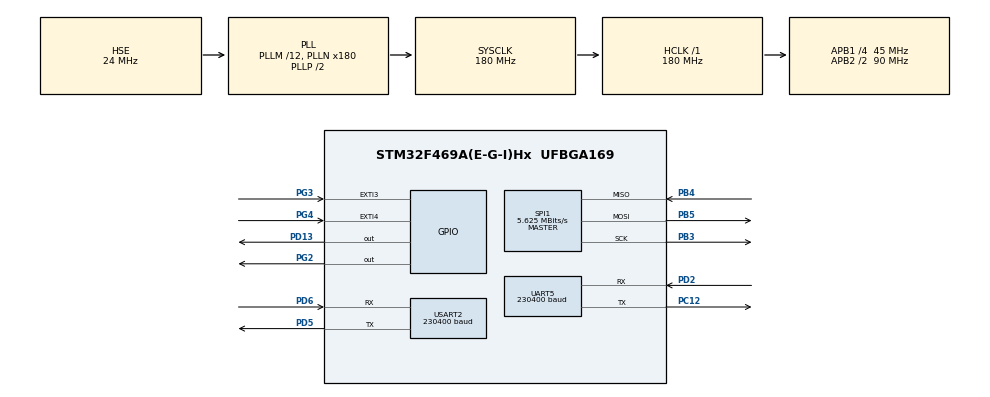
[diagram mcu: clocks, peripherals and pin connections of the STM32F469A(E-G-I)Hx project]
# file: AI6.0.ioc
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Dma.Request0=USART2_RX
Dma.USART2_RX.0.Direction=DMA_PERIPH_TO_MEMORY
Dma.USART2_RX.0.FIFOMode=DMA_FIFOMODE_DISABLE
Dma.USART2_RX.0.Instance=DMA1_Stream5
Dma.USART2_RX.0.MemDataAlignment=DMA_MDATAALIGN_BYTE
Dma.USART2_RX.0.MemInc=DMA_MINC_ENABLE
Dma.USART2_RX.0.Mode=DMA_CIRCULAR
Dma.USART2_RX.0.PeriphDataAlignment=DMA_PDATAALIGN_BYTE
Dma.USART2_RX.0.PeriphInc=DMA_PINC_DISABLE
Dma.USART2_RX.0.Priority=DMA_PRIORITY_LOW
Mcu.Family=STM32F4
Mcu.Name=STM32F469A(E-G-I)Hx
Mcu.Package=UFBGA169
NVIC.DMA1_Stream5_IRQn=true\:0\:0\:false\:false\:true\:false\:true\:true
NVIC.EXTI3_IRQn=true\:0\:0\:false\:false\:true\:true\:true\:true
NVIC.EXTI4_IRQn=true\:0\:0\:false\:false\:true\:true\:true\:true
NVIC.PriorityGroup=NVIC_PRIORITYGROUP_4
NVIC.TIM2_IRQn=true\:0\:0\:false\:false\:true\:true\:true\:true
NVIC.USART2_IRQn=true\:0\:0\:false\:false\:true\:true\:true\:true
PA13.Mode=Serial_Wire
PA13.Signal=SYS_JTMS-SWDIO
PA14.Mode=Serial_Wire
PA14.Signal=SYS_JTCK-SWCLK
PB3.Mode=Full_Duplex_Master
PB3.Signal=SPI1_SCK
PB4.Mode=Full_Duplex_Master
PB4.Signal=SPI1_MISO
PB5.Mode=Full_Duplex_Master
PB5.Signal=SPI1_MOSI
PC12.Mode=Asynchronous
PC12.Signal=UART5_TX
PC14/OSC32_IN.Mode=LSE-External-Oscillator
PC14/OSC32_IN.Signal=RCC_OSC32_IN
PC15/OSC32_OUT.Mode=LSE-External-Oscillator
PC15/OSC32_OUT.Signal=RCC_OSC32_OUT
PD13.Signal=GPIO_Output
PD2.Mode=Asynchronous
PD2.Signal=UART5_RX
PD5.Mode=Asynchronous
PD5.Signal=USART2_TX
PD6.Mode=Asynchronous
PD6.Signal=USART2_RX
PG2.PinState=GPIO_PIN_SET
PG2.Signal=GPIO_Output
PG3.Signal=GPXTI3
PG4.Signal=GPXTI4
PH0/OSC_IN.Mode=HSE-External-Oscillator
PH0/OSC_IN.Signal=RCC_OSC_IN
PH1/OSC_OUT.Mode=HSE-External-Oscillator
PH1/OSC_OUT.Signal=RCC_OSC_OUT
ProjectManager.HeapSize=0x200
ProjectManager.StackSize=0x1000
ProjectManager.TargetToolchain=STM32CubeIDE
RCC.AHBFreq_Value=180000000
RCC.APB1CLKDivider=RCC_HCLK_DIV4
RCC.APB1Freq_Value=45000000
RCC.APB1TimFreq_Value=90000000
RCC.APB2CLKDivider=RCC_HCLK_DIV2
RCC.APB2Freq_Value=90000000
RCC.APB2TimFreq_Value=180000000
RCC.CortexFreq_Value=180000000
RCC.HCLKFreq_Value=180000000
RCC.HSE_VALUE=24000000
RCC.PLLM=12
RCC.PLLN=180
RCC.PLLSourceVirtual=RCC_PLLSOURCE_HSE
RCC.SYSCLKFreq_VALUE=180000000
RCC.SYSCLKSource=RCC_SYSCLKSOURCE_PLLCLK
RCC.USBFreq_Value=90000000
RCC.VCOOutputFreq_Value=360000000
SPI1.BaudRatePrescaler=SPI_BAUDRATEPRESCALER_16
SPI1.CalculateBaudRate=5.625 MBits/s
SPI1.Direction=SPI_DIRECTION_2LINES
SPI1.Mode=SPI_MODE_MASTER
SPI1.VirtualType=VM_MASTER
STMicroelectronics.X-CUBE-AI.6.0.0.ActivationBufferSizeList=236
STMicroelectronics.X-CUBE-AI.6.0.0.HeapSize=0x200
STMicroelectronics.X-CUBE-AI.6.0.0.InternalRamActivationBufferMaxSize=AI_NETWORK_DATA_ACTIVATIONS_SIZE
STMicroelectronics.X-CUBE-AI.6.0.0.LatestDirectoryUsed-0fcbe1ab71b698b4400d4f1bba7a862e0c98a0aeb48cbcee48d7ba8a3e75a3d9=C\:\\Users\\giaco\\Desktop
STMicroelectronics.X-CUBE-AI.6.0.0.MaximumNumberOfInputLayer=1
STMicroelectronics.X-CUBE-AI.6.0.0.MaximumNumberOfOutputLayer=1
STMicroelectronics.X-CUBE-AI.6.0.0.MaximumSizeOfInputLayer=AI_NETWORK_IN_1_SIZE_BYTES
STMicroelectronics.X-CUBE-AI.6.0.0.MaximumSizeOfOutputLayer=AI_NETWORK_OUT_1_SIZE_BYTES
STMicroelectronics.X-CUBE-AI.6.0.0.ModelActualCompression-0fcbe1ab71b698b4400d4f1bba7a862e0c98a0aeb48cbcee48d7ba8a3e75a3d9=0.0
STMicroelectronics.X-CUBE-AI.6.0.0.ModelCompression-0fcbe1ab71b698b4400d4f1bba7a862e0c98a0aeb48cbcee48d7ba8a3e75a3d9=1
STMicroelectronics.X-CUBE-AI.6.0.0.ModelFlashOccupation-0fcbe1ab71b698b4400d4f1bba7a862e0c98a0aeb48cbcee48d7ba8a3e75a3d9=3612
STMicroelectronics.X-CUBE-AI.6.0.0.ModelHashList=0fcbe1ab71b698b4400d4f1bba7a862e0c98a0aeb48cbcee48d7ba8a3e75a3d9
STMicroelectronics.X-CUBE-AI.6.0.0.ModelKind-0fcbe1ab71b698b4400d4f1bba7a862e0c98a0aeb48cbcee48d7ba8a3e75a3d9=TFLITE
STMicroelectronics.X-CUBE-AI.6.0.0.ModelMacc-0fcbe1ab71b698b4400d4f1bba7a862e0c98a0aeb48cbcee48d7ba8a3e75a3d9=998
STMicroelectronics.X-CUBE-AI.6.0.0.ModelName-0fcbe1ab71b698b4400d4f1bba7a862e0c98a0aeb48cbcee48d7ba8a3e75a3d9=network
STMicroelectronics.X-CUBE-AI.6.0.0.ModelNameList=network
STMicroelectronics.X-CUBE-AI.6.0.0.ModelRamOccupation-0fcbe1ab71b698b4400d4f1bba7a862e0c98a0aeb48cbcee48d7ba8a3e75a3d9=236
STMicroelectronics.X-CUBE-AI.6.0.0.ModelStructureFile-0fcbe1ab71b698b4400d4f1bba7a862e0c98a0aeb48cbcee48d7ba8a3e75a3d9=C\:\\Users\\giaco\\Desktop\\modello_finale.tflite
STMicroelectronics.X-CUBE-AI.6.0.0.ModelType-0fcbe1ab71b698b4400d4f1bba7a862e0c98a0aeb48cbcee48d7ba8a3e75a3d9=STM32Cube.AI runtime
STMicroelectronics.X-CUBE-AI.6.0.0.StackSize=0x1000
STMicroelectronics.X-CUBE-AI.6.0.0.WorkingBufferStartAddrList=0xFFFFFFFF
STMicroelectronics.X-CUBE-AI.6.0.0.XAaCUBEAaAICcArtificialOoIntelligenceJjCore=true
STMicroelectronics.X-CUBE-ALGOBUILD.1.3.0.LibraryCcDSPOoLibraryJjDSPOoLibrary=true
STMicroelectronics.X-CUBE-ALGOBUILD.1.3.0.LibraryCcMotionOoLibrariesJjMotionOoLibraries=true
TIM2.Period=1000-1
TIM2.Prescaler=24000-1
UART5.BaudRate=230400
UART5.VirtualMode=Asynchronous
USART2.BaudRate=230400
USART2.Parity=PARITY_NONE
USART2.VirtualMode=VM_ASYNC
VP_CRC_VS_CRC.Mode=CRC_Activate
VP_STMicroelectronics.X-CUBE-AI_VS_ArtificialOoIntelligenceJjXAaCUBEAaAI_6.0.0.Mode=ArtificialOoIntelligenceJjXAaCUBEAaAI
VP_STMicroelectronics.X-CUBE-ALGOBUILD_VS_DSPOoLibraryJjLibrary_1.3.0_1.3.0.Mode=DSPOoLibraryJjLibrary
VP_STMicroelectronics.X-CUBE-ALGOBUILD_VS_MotionOoLibrariesJjLibrary_1.3.0_1.3.0.Mode=MotionOoLibrariesJjLibrary
VP_TIM2_VS_ClockSourceINT.Mode=Internal
board=custom

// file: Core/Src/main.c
/* USER CODE BEGIN Header */
/**
  ******************************************************************************
  * @file           : main.c
  * @brief          : Main program body
  ******************************************************************************
  * @attention
  *
  * Copyright (c) 2023 STMicroelectronics.
  * All rights reserved.
  *
  * This software is licensed under terms that can be found in the LICENSE file
  * in the root directory of this software component.
  * If no LICENSE file comes with this software, it is provided AS-IS.
  *
  ******************************************************************************
  */
/* USER CODE END Header */

#define ARM_MATH_CM4
#define DIM 8000
#define SAMPLES  2048
#define FFT_SIZE (SAMPLES/2)
#define Fs  20000
#define passo_f  (Fs/2)/(FFT_SIZE/2)

#include "main.h"
#include "crc.h"
#include "dma.h"
#include "spi.h"
#include "tim.h"
#include "usart.h"
#include "gpio.h"
#include "ai_datatypes_defines.h"
#include "ai_platform.h"
#include "network.h"
#include "network.h"
#include "network_data.h"
#include "arm_math.h"

#define N 5

/* USER CODE BEGIN PV */

float32_t fft_in_buf_realX [SAMPLES];
float32_t fft_in_buf_realY [SAMPLES];
float32_t fft_in_buf_realZ [SAMPLES];
float32_t tempX[FFT_SIZE];
float32_t tempY[FFT_SIZE];
float32_t tempZ[FFT_SIZE];
float32_t fft_out_buf_realX[FFT_SIZE];
float32_t fft_out_buf_realY[FFT_SIZE];
float32_t fft_out_buf_realZ[FFT_SIZE];
arm_rfft_fast_instance_f32 fft_handler;
arm_cfft_radix4_instance_f32 fft_handler_cplx;
float32_t massimo;
float32_t valMassimiX[N];
float32_t indX[N];
float32_t valMassimiY[N];
float32_t indY[N];
float32_t valMassimiZ[N];
float32_t indZ[N];
float32_t matriceInput[N][6];

int indmax;
char  buffer_out[100];
uint8_t spiSndX[1];			//Buffer di trasmissione X MSB
uint8_t spiSndY[1];			//Buffer di trasmissione Y MSB
uint8_t spiSndZ[1];			//Buffer di trasmissione Z MSB
uint8_t spiSndXLSB[1];		//Buffer di trasmissione X LSB
uint8_t spiSndYLSB[1];		//Buffer di trasmissione Y LSB
uint8_t spiSndZLSB[1];		//Buffer di trasmissione Z LSB
uint8_t spiRcv[2];			//Buffer di ricezione LSB
uint8_t spiRcvMSB[2];		//Buffer di ricezione MSB
uint8_t spiSnd[2];			//Buffer invio comandi SPI
uint16_t buffer[50]={0};	//Buffer usato per UART5
uint16_t buffer2[300];
uint16_t buffer3[300];
uint8_t a;
float Vettx[DIM];
float Vetty[DIM];
float Vettz[DIM];
volatile uint8_t flag_elapsed = 0;

void uprintf(char* str){
	HAL_UART_Transmit(&huart5, (uint8_t*)str, strlen(str), 100);
}

/* USER CODE END PV */

void SystemClock_Config(void);

int main(void)
{
  /* USER CODE BEGIN 1 */

		spiSndX[0]=0x29|0x80;
	    spiSndY[0]=0x2B|0x80;
		spiSndZ[0]=0x2D|0x80;
		spiSndXLSB[0]=0x28|0x80;
		spiSndYLSB[0]=0x2A|0x80;
		spiSndZLSB[0]=0x2C|0x80;
		uint16_t x[DIM];
		uint16_t y[DIM];
		uint16_t z[DIM];
		int16_t k=0;
		float acc;
		float typ=0.488;
		int i=0;

  /* USER CODE END 1 */

  /* MCU Configuration--------------------------------------------------------*/

  /* Reset of all peripherals, Initializes the Flash interface and the Systick. */
  HAL_Init();

  /* Configure the system clock */
  SystemClock_Config();

  /* Initialize all configured peripherals */
  MX_GPIO_Init();
  MX_DMA_Init();
  MX_SPI1_Init();
  MX_USART2_UART_Init();
  MX_UART5_Init();
  MX_TIM2_Init();
  MX_CRC_Init();
  /* USER CODE BEGIN 2 */

  HAL_UART_MspInit(&huart5);
  HAL_GPIO_WritePin(GPIOG, GPIO_PIN_2, GPIO_PIN_RESET);
  spiSnd[0]=0x10;
  spiSnd[1]=0xA4;
  HAL_SPI_Transmit(&hspi1, spiSnd, 2, 100);
  HAL_GPIO_WritePin(GPIOG, GPIO_PIN_2, GPIO_PIN_SET);
  HAL_TIM_Base_Start(&htim2);

  /* USER CODE END 2 */

  /* Infinite loop */
  /* USER CODE BEGIN WHILE */
  while (i<DIM)
   {
 	 if((flag_elapsed=1))											//La funzione di interrupt abilita il flag per ogni n conteggi selezionati
 	 {
 		 flag_elapsed=0;										//flag=0 in modo che non rientro ma aspetto che sia l'interrupt ad alzarlo

 		//Asse X
 		HAL_GPIO_WritePin(GPIOG, GPIO_PIN_2, GPIO_PIN_RESET);	//Abilito SPI1
 		HAL_SPI_Transmit(&hspi1, spiSndX, 1, 100);				//Trasmetto Indirizzo dove leggere istruzione
 		HAL_SPI_Receive(&hspi1, &spiRcv[0], 1, 100);			//Ricevo Risultato di misura MSB (8bit)
 		HAL_GPIO_WritePin(GPIOG, GPIO_PIN_2, GPIO_PIN_SET);		//Chiudo la comunicazione SPI1
 		HAL_GPIO_WritePin(GPIOG, GPIO_PIN_2, GPIO_PIN_RESET);	//Abilito la comunicazione SPI1 (NON POSSO FARE PIU OPERAZIONI CON UN'UNICA ATTIVAZIONE)
 		HAL_SPI_Transmit(&hspi1, spiSndXLSB, 1, 100);			//Trasmetto Indirizzo dove leggere istruzione
 		HAL_SPI_Receive(&hspi1, &spiRcv[1], 1, 100);			//Ricevo Risultato di misura LSB (8bit)
 		x[i]=((int16_t)spiRcv[0] << 8) | spiRcv[1];				//Unisco MSB e LSB attraverso un'operazione di shift su 16bit
 		HAL_GPIO_WritePin(GPIOG, GPIO_PIN_2, GPIO_PIN_SET);		//Chiudo la comunicazione SPI1
 		k=(int16_t)x[i];										//Casting da uint a int (abilitazione del segno, complemento)
 		acc=(k*typ)/1000;										//Da datasheet, il dato letto, lo converto in scala g attraverso questo calcolo
 		Vettx[i]=acc;											//Aggiungo la misura al vettore delle letture
 		//HAL_UART_Transmit(&huart5,(uint8_t*)"\n \r", 3, HAL_MAX_DELAY);			//Vado da capo

 		spiRcv[0]=0;
 		spiRcv[1]=0;
 		//Asse Y
 		HAL_GPIO_WritePin(GPIOG, GPIO_PIN_2, GPIO_PIN_RESET);	//Abilito SPI1
 		HAL_SPI_Transmit(&hspi1, spiSndY, 1, 100);				//Trasmetto Indirizzo dove leggere istruzione
 		HAL_SPI_Receive(&hspi1, &spiRcv[0], 1, 100);			//Ricevo Risultato di misura MSB (8bit)
 		HAL_GPIO_WritePin(GPIOG, GPIO_PIN_2, GPIO_PIN_SET);		//Chiudo la comunicazione SPI1
 		HAL_GPIO_WritePin(GPIOG, GPIO_PIN_2, GPIO_PIN_RESET);	//Abilito la comunicazione SPI1 (NON POSSO FARE PIU OPERAZIONI CON UN'UNICA ATTIVAZIONE)
 		HAL_SPI_Transmit(&hspi1, spiSndYLSB, 1, 100);			//Trasmetto Indirizzo dove leggere istruzione
 		HAL_SPI_Receive(&hspi1, &spiRcv[1], 1, 100);			//Ricevo Risultato di misura LSB (8bit)
 		y[i]=((int16_t)spiRcv[0] << 8) | spiRcv[1];				//Unisco MSB e LSB attraverso un'operazione di shift su 16bit
 		HAL_GPIO_WritePin(GPIOG, GPIO_PIN_2, GPIO_PIN_SET);		//Chiudo la comunicazione SPI1
 		k=(int16_t)y[i];										//Casting da uint a int (abilitazione del segno, complemento)
 		acc=(k*typ)/1000;										//Da datasheet, il dato letto, lo converto in scala g attraverso questo calcolo
 		Vetty[i]=acc;											//Aggiungo la misura al vettore delle letture
 		//HAL_UART_Transmit(&huart5,(uint8_t*)"\n \r", 3, HAL_MAX_DELAY);			//Vado da capo

 		spiRcv[0]=0;
 		spiRcv[1]=0;
 		//Asse Z												//Si ripetono gli stessi commenti
 		HAL_GPIO_WritePin(GPIOG, GPIO_PIN_2, GPIO_PIN_RESET);
 		HAL_SPI_Transmit(&hspi1, spiSndZ, 1, 100);
 		HAL_SPI_Receive(&hspi1, &spiRcv[0], 1, 100);
 		HAL_GPIO_WritePin(GPIOG, GPIO_PIN_2, GPIO_PIN_SET);
 		HAL_GPIO_WritePin(GPIOG, GPIO_PIN_2, GPIO_PIN_RESET);
 		HAL_SPI_Transmit(&hspi1, spiSndZLSB, 1, 100);
 		HAL_SPI_Receive(&hspi1, &spiRcv[1], 1, 100);
 		z[i]=((int16_t)spiRcv[0] << 8) | spiRcv[1];
 		HAL_GPIO_WritePin(GPIOG, GPIO_PIN_2, GPIO_PIN_SET);
 		k=(int16_t)z[i];
 		acc=(k*typ)/1000;
 		Vettz[i]=acc;
 		//HAL_UART_Transmit(&huart5,(uint8_t*)"\n \r", 3, HAL_MAX_DELAY);			//Vado da capo

 	    i=i+1;															//Incremento la i per spostare le misure nel buffer
 	  }
   }

    /* USER CODE END WHILE */

    /* USER CODE BEGIN 3 */

  HAL_TIM_Base_Stop(&htim2);											//Completate le n=DIM misure, fermo il timer
     HAL_UART_Transmit(&huart5,(uint8_t*)"\n \r", 3, HAL_MAX_DELAY);		//Trasmetto uno spazio per ordine

     //Scrivo le misure relative all'asse X
     /*uprintf("Misure Asse X \n \r");
     for(int j=0; j<DIM; j++){
  	   sprintf(buffer2,"%f \n \r",Vettx[j]); // @suppress("Float formatting support")? No, ho aggiunto manualmente la funzione nel Linker
  	   uprintf(buffer2);
     }

     //Scrivo le misure relative all'asse Y
     uprintf("Misure Asse Y \n \r");
     for(int j=0; j<DIM; j++){
  	  sprintf(buffer2,"%f \n \r",Vetty[j	]); // @suppress("Float formatting support")? No, ho aggiunto manualmente la funzione nel Linker
  	  uprintf(buffer2);
     }

     //Scrivo le misure relative all'asse Z
     uprintf("Misure Asse Z \n \r");
     for(int j=0; j<DIM; j++){
  	  sprintf(buffer2,"%f \n \r",Vettz[j]); // @suppress("Float formatting support")? No, ho aggiunto manualmente la funzione nel Linker
  	  uprintf(buffer2);
     }*/

     //FFT reale

     	 	  arm_cfft_radix2_instance_f32 S;

     	 	  /* Inizializzo il modulo CFFT/CIFFT, intFlag = 0, doBitReverse = 1 */
     	 	  arm_cfft_radix2_init_f32(&S, FFT_SIZE, 0, 1);

     	 	  //Asse X

     	 	  //Raccolgo i campioni
     	 	  for(int j=0;j<SAMPLES;j+=2){
     	 		  fft_in_buf_realX[j] = ((float32_t)((float32_t)Vettx[j]));
     	 		  fft_in_buf_realX[j+1] = 0;
     	 	  }

     	       /* Processo i dati attraverso il modulo CFFT/CIFFT */
     	        arm_cfft_radix2_f32(&S, fft_in_buf_realX);

     	       /* Processo i dati attraverso il modulo Complex Magnitude */
     	        arm_cmplx_mag_f32(fft_in_buf_realX, fft_out_buf_realX, FFT_SIZE);

          //Asse Y

       	 	  //Raccolgo i campioni
       	 	  for(int j=0;j<SAMPLES;j+=2){
       	 		  fft_in_buf_realY[j] = ((float32_t)((float32_t)Vetty[j]));
       	 		  fft_in_buf_realY[j+1] = 0;
       	 	  }

       	       /* Processo i dati attraverso il modulo CFFT/CIFFT */
       	        arm_cfft_radix2_f32(&S, fft_in_buf_realY);

       	       /* Processo i dati attraverso il modulo Complex Magnitude */
       	        arm_cmplx_mag_f32(fft_in_buf_realY, fft_out_buf_realY, FFT_SIZE);

           //Eseguo la fft sull'Asse Z

       	     //Raccolgo i campioni
       	       for(int j=0;j<SAMPLES;j+=2){
       	    	   fft_in_buf_realZ[j] = ((float32_t)((float32_t)Vettz[j]));
       	           fft_in_buf_realZ[j+1] = 0;
       	           }

       	      /* Processo i dati attraverso il modulo CFFT/CIFFT */
       	      arm_cfft_radix2_f32(&S, fft_in_buf_realZ);

       	      /* Processo i dati attraverso il modulo Complex Magnitude */
       	      arm_cmplx_mag_f32(fft_in_buf_realZ, fft_out_buf_realZ, FFT_SIZE);

       	  //Prendo le N armoniche a magnitude maggiore di X

          for(int j = 0; j<((FFT_SIZE/2)-1);j++){
         	 tempX[j] = (float32_t)fft_out_buf_realX[j+1];
          }

          for(int j=0; j<N;j++){

         	 arm_max_f32(tempX, FFT_SIZE/2, &massimo, &indmax);
         	 valMassimiX[j] = massimo;
         	 indX[j] = indmax*passo_f;
         	 tempX[indmax] = 0;
          }

          //Stampo le N frequenze corrispondenti di X

          sprintf(buffer2,"Armoniche asse X \n \r");
          uprintf(buffer2);

          for(int j=0;j<N;j++){
          sprintf(buffer3,"%f \n \r",valMassimiX[j]);
          uprintf(buffer3);
          }

          //Stampo le relative frequenze di X

          sprintf(buffer2,"Frequenze asse X \n \r");
          uprintf(buffer2);

          for(int j=0;j<N;j++){
          sprintf(buffer2,"%f \n \r",indX[j]);
          uprintf(buffer2);
          }

          //Prendo le N armoniche a magnitude maggiore di Y

          for(int j = 1; j<((FFT_SIZE/2)-1);j++){
              	 tempY[j] = (float32_t)fft_out_buf_realY[j+1];
               }

               for(int j = 0; j<N;j++){

              	 arm_max_f32(tempY, FFT_SIZE/2, &massimo, &indmax);
              	 valMassimiY[j] = massimo;
              	 indY[j] = indmax*passo_f;
              	 tempY[indmax] = 0;
               }

            //Stampo le N armoniche di Y

                         sprintf(buffer2,"Armoniche asse Y \n \r");
                         uprintf(buffer2);

                         for(int j=0;j<N;j++){
                         sprintf(buffer3,"%f \n \r",valMassimiY[j]);
                         uprintf(buffer3);
                         }

                         //Stampo le relative frequenze di Y

                         sprintf(buffer2,"Frequenze asse Y \n \r");
                         uprintf(buffer2);

                         for(int j=0;j<N;j++){
                         sprintf(buffer2,"%f \n \r",indY[j]);
                         uprintf(buffer2);
                         }

            //Prendo le N armoniche a magnitude maggiore di Z

            for(int j = 1; j<((FFT_SIZE/2)-1);j++){
                   	 tempZ[j] = (float32_t)fft_out_buf_realZ[j+1];
                    }

                    for(int j = 0; j<N;j++){

                   	 arm_max_f32(tempZ, FFT_SIZE/2, &massimo, &indmax);
                   	 valMassimiZ[j] = massimo;
                   	 indZ[j] = indmax*passo_f;
                   	 tempZ[indmax] = 0;
                    }
                    //Stampo le N armoniche di Z

                              sprintf(buffer2,"Armoniche asse Z \n \r");
                              uprintf(buffer2);

                              for(int j=0;j<N;j++){
                              sprintf(buffer3,"%f \n \r",valMassimiZ[j]);
                              uprintf(buffer3);
                              }

                              //Stampo le relative frequenze di Z

                              sprintf(buffer2,"Frequenze asse Z \n \r");
                              uprintf(buffer2);

                              for(int j=0;j<N;j++){
                              sprintf(buffer2,"%f \n \r",indZ[j]);
                              uprintf(buffer2);
                              }

  //Preparo la matrice con gli input da dare al mio NN(riempio la matrice per colonne)

  for(int j=0;j<AI_NETWORK_IN_1_SIZE;j++){

	  for(int k=0;k<N;k++){

		  if(j==0)
			  matriceInput[k][j] = (float32_t)valMassimiX[k];
		  if(j==1)
			  matriceInput[k][j] = (float32_t)indX[k];
		  if(j==2)
			  matriceInput[k][j] = (float32_t)valMassimiY[k];
		  if(j==3)
			  matriceInput[k][j] = (float32_t)indY[k];
		  if(j==4)
			  matriceInput[k][j] = (float32_t)valMassimiZ[k];
		  if(j==5)
			  matriceInput[k][j] = (float32_t)indZ[k];
	  }
  }

  // Chunk of memory used to hold intermediate values for neural network

  	AI_ALIGNED(4) ai_u8 activations[AI_NETWORK_DATA_ACTIVATIONS_SIZE];
    ai_i32 inferenza;

  // Buffer per memorizzare i tensori di input e di output

  	AI_ALIGNED(4) ai_i8 in_data[AI_NETWORK_IN_1_SIZE_BYTES];
    AI_ALIGNED(4) ai_i8 out_data[AI_NETWORK_OUT_1_SIZE_BYTES];

    //Puntatore al modello

    ai_handle network = AI_HANDLE_NULL;

    //Inizializzo le struct che conterranno i puntatori ai dati

    ai_buffer ai_input[AI_NETWORK_IN_NUM] = AI_NETWORK_IN;
    ai_buffer ai_output[AI_NETWORK_OUT_NUM] = AI_NETWORK_OUT;

    //Ricavo i pesi e i bias del modello

       ai_network_params ai_params = {
       AI_NETWORK_DATA_WEIGHTS(ai_network_data_weights_get()),
       AI_NETWORK_DATA_ACTIVATIONS(activations)
     };

     //Setto le struct

       ai_input[0].n_batches = 1;
       ai_input[0].data = AI_HANDLE_PTR(in_data);
       ai_output[0].n_batches = 1;
       ai_output[0].data = AI_HANDLE_PTR(out_data);

    //Creo un'istanza del NN

     ai_error ai_err;
     ai_err = ai_network_create(&network, AI_NETWORK_DATA_CONFIG);
     if (ai_err.type != AI_ERROR_NONE)
     {
    	 sprintf(buffer2,"Errore");
    	 uprintf(buffer2);

     }

     //Verifico che il NN sia inizializzato correttamente

     if (!ai_network_init(network, &ai_params))
     {
    	 sprintf(buffer2,"Errore");
    	 uprintf(buffer2);

     }

     //Riempio il buffer di input

     	 for (uint32_t i = 0; i < AI_NETWORK_IN_1_SIZE; i++)
         {
           ((ai_float *)in_data)[i] = (ai_float)matriceInput[1][i];
           //sprintf(buffer2,"%f \n \r",((ai_float*)in_data)[i]);
           //uprintf(buffer2);
         }

      //Eseguo l'inferenza

             inferenza = ai_network_run(network, &ai_input[0], &ai_output[0]);
             if (inferenza != 1) {

            	 sprintf(buffer2,"Errore");
            	 uprintf(buffer2);

             }

             //Visualizzo il risultato dell'inferenza

             float y_val;
             for(int j=0;j<3;j++){
             y_val = ((float *)out_data)[j];
             sprintf(buffer2,"%f \n \r",y_val);
             uprintf(buffer2);
             }

  /* USER CODE END 3 */
}

void SystemClock_Config(void)
{
  RCC_OscInitTypeDef RCC_OscInitStruct = {0};
  RCC_ClkInitTypeDef RCC_ClkInitStruct = {0};

  /** Configure the main internal regulator output voltage
  */
  __HAL_RCC_PWR_CLK_ENABLE();
  __HAL_PWR_VOLTAGESCALING_CONFIG(PWR_REGULATOR_VOLTAGE_SCALE1);

  /** Initializes the RCC Oscillators according to the specified parameters
  * in the RCC_OscInitTypeDef structure.
  */
  RCC_OscInitStruct.OscillatorType = RCC_OSCILLATORTYPE_HSE;
  RCC_OscInitStruct.HSEState = RCC_HSE_ON;
  RCC_OscInitStruct.PLL.PLLState = RCC_PLL_ON;
  RCC_OscInitStruct.PLL.PLLSource = RCC_PLLSOURCE_HSE;
  RCC_OscInitStruct.PLL.PLLM = 12;
  RCC_OscInitStruct.PLL.PLLN = 180;
  RCC_OscInitStruct.PLL.PLLP = RCC_PLLP_DIV2;
  RCC_OscInitStruct.PLL.PLLQ = 4;
  RCC_OscInitStruct.PLL.PLLR = 2;
  if (HAL_RCC_OscConfig(&RCC_OscInitStruct) != HAL_OK)
  {
    Error_Handler();
  }

  /** Activate the Over-Drive mode
  */
  if (HAL_PWREx_EnableOverDrive() != HAL_OK)
  {
    Error_Handler();
  }

  /** Initializes the CPU, AHB and APB buses clocks
  */
  RCC_ClkInitStruct.ClockType = RCC_CLOCKTYPE_HCLK|RCC_CLOCKTYPE_SYSCLK
                              |RCC_CLOCKTYPE_PCLK1|RCC_CLOCKTYPE_PCLK2;
  RCC_ClkInitStruct.SYSCLKSource = RCC_SYSCLKSOURCE_PLLCLK;
  RCC_ClkInitStruct.AHBCLKDivider = RCC_SYSCLK_DIV1;
  RCC_ClkInitStruct.APB1CLKDivider = RCC_HCLK_DIV4;
  RCC_ClkInitStruct.APB2CLKDivider = RCC_HCLK_DIV2;

  if (HAL_RCC_ClockConfig(&RCC_ClkInitStruct, FLASH_LATENCY_5) != HAL_OK)
  {
    Error_Handler();
  }
}

void Error_Handler(void)
{
  __disable_irq();
  while (1)
  {
  }
}
